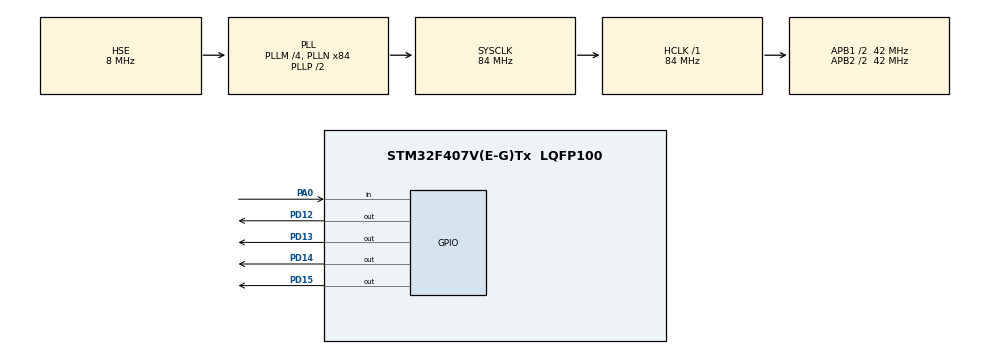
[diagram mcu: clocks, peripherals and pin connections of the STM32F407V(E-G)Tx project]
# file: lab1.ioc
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Mcu.Family=STM32F4
Mcu.Name=STM32F407V(E-G)Tx
Mcu.Package=LQFP100
NVIC.PriorityGroup=NVIC_PRIORITYGROUP_4
PA0-WKUP.Signal=GPIO_Input
PA13.Mode=Serial_Wire
PA13.Signal=SYS_JTMS-SWDIO
PA14.Mode=Serial_Wire
PA14.Signal=SYS_JTCK-SWCLK
PD12.Signal=GPIO_Output
PD13.Signal=GPIO_Output
PD14.Signal=GPIO_Output
PD15.Signal=GPIO_Output
PH0-OSC_IN.Mode=HSE-External-Oscillator
PH0-OSC_IN.Signal=RCC_OSC_IN
PH1-OSC_OUT.Mode=HSE-External-Oscillator
PH1-OSC_OUT.Signal=RCC_OSC_OUT
ProjectManager.HeapSize=0x200
ProjectManager.StackSize=0x400
ProjectManager.TargetToolchain=STM32CubeIDE
RCC.48MHZClocksFreq_Value=42000000
RCC.AHBFreq_Value=84000000
RCC.APB1CLKDivider=RCC_HCLK_DIV2
RCC.APB1Freq_Value=42000000
RCC.APB1TimFreq_Value=84000000
RCC.APB2CLKDivider=RCC_HCLK_DIV2
RCC.APB2Freq_Value=42000000
RCC.APB2TimFreq_Value=84000000
RCC.CortexFreq_Value=84000000
RCC.EnbaleCSS=true
RCC.HCLKFreq_Value=84000000
RCC.HSE_VALUE=8000000
RCC.HSI_VALUE=16000000
RCC.LSE_VALUE=32768
RCC.PLLM=4
RCC.PLLN=84
RCC.PLLSourceVirtual=RCC_PLLSOURCE_HSE
RCC.SYSCLKFreq_VALUE=84000000
RCC.SYSCLKSource=RCC_SYSCLKSOURCE_PLLCLK
RCC.VCOOutputFreq_Value=168000000
board=custom

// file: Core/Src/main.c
/* USER CODE BEGIN Header */
/**
  ******************************************************************************
  * @file           : main.c
  * @brief          : Main program body
  ******************************************************************************
  * @attention
  *
  * Copyright (c) 2024 STMicroelectronics.
  * All rights reserved.
  *
  * This software is licensed under terms that can be found in the LICENSE file
  * in the root directory of this software component.
  * If no LICENSE file comes with this software, it is provided AS-IS.
  *
  ******************************************************************************
  */
/* USER CODE END Header */
#include "main.h"

void SystemClock_Config(void);
static void MX_GPIO_Init(void);

int main(void)
{

  /* MCU Configuration--------------------------------------------------------*/

  /* Reset of all peripherals, Initializes the Flash interface and the Systick. */
  HAL_Init();

  /* Configure the system clock */
  SystemClock_Config();

  /* Initialize all configured peripherals */
  MX_GPIO_Init();
  /* USER CODE BEGIN 2 */

  uint16_t leds[] = {GPIO_PIN_12, GPIO_PIN_13, GPIO_PIN_14, GPIO_PIN_15};
  uint8_t led_index = 0;
  uint8_t direction = 1; // 1 = clockwise, 0 = counter-clockwise
  uint8_t button_pressed = 0;
  uint8_t mode = 0;  // 0: low frequency, 1: medium frequency, 2: high frequency

  /* USER CODE END 2 */

  /* Infinite loop */
  while (1)
  {

    /* USER CODE BEGIN 3 */
      // Check button state
      if (HAL_GPIO_ReadPin(GPIOA, GPIO_PIN_0) == GPIO_PIN_SET) {
          if (!button_pressed) {
              mode = (mode + 1) % 3;  // Change mode: 0 -> 1 -> 2 -> 0
              button_pressed = 1;    // Mark button as pressed
          }
      } else {
          button_pressed = 0; // Reset button state when released
      }

      // Toggle current LED
      HAL_GPIO_TogglePin(GPIOD, leds[led_index]);

      // Set delay based on current mode
      uint32_t delay;
      switch (mode) {
          case 0:  // Low frequency (500 ms)
              delay = 500;
              break;
          case 1:  // Medium frequency (250 ms)
              delay = 250;
              break;
          case 2:  // High frequency (100 ms)
              delay = 100;
              break;
          default:
              delay = 500;  // Default to low frequency
              break;
      }

      HAL_Delay(delay);  // Delay for the selected frequency
      HAL_GPIO_TogglePin(GPIOD, leds[led_index]);  // Turn LED off

      // Update LED index based on direction
      if (direction) {
          led_index = (led_index + 1) % 4; // Clockwise
      } else {
          led_index = (led_index == 0) ? 3 : led_index - 1; // Counter-clockwise
      }
  }
  /* USER CODE END 3 */
}

void SystemClock_Config(void)
{
  RCC_OscInitTypeDef RCC_OscInitStruct = {0};
  RCC_ClkInitTypeDef RCC_ClkInitStruct = {0};

  /** Configure the main internal regulator output voltage
  */
  __HAL_RCC_PWR_CLK_ENABLE();
  __HAL_PWR_VOLTAGESCALING_CONFIG(PWR_REGULATOR_VOLTAGE_SCALE1);

  /** Initializes the RCC Oscillators according to the specified parameters
  * in the RCC_OscInitTypeDef structure.
  */
  RCC_OscInitStruct.OscillatorType = RCC_OSCILLATORTYPE_HSE;
  RCC_OscInitStruct.HSEState = RCC_HSE_ON;
  RCC_OscInitStruct.PLL.PLLState = RCC_PLL_ON;
  RCC_OscInitStruct.PLL.PLLSource = RCC_PLLSOURCE_HSE;
  RCC_OscInitStruct.PLL.PLLM = 4;
  RCC_OscInitStruct.PLL.PLLN = 84;
  RCC_OscInitStruct.PLL.PLLP = RCC_PLLP_DIV2;
  RCC_OscInitStruct.PLL.PLLQ = 4;
  if (HAL_RCC_OscConfig(&RCC_OscInitStruct) != HAL_OK)
  {
    Error_Handler();
  }

  /** Initializes the CPU, AHB and APB buses clocks
  */
  RCC_ClkInitStruct.ClockType = RCC_CLOCKTYPE_HCLK|RCC_CLOCKTYPE_SYSCLK
                              |RCC_CLOCKTYPE_PCLK1|RCC_CLOCKTYPE_PCLK2;
  RCC_ClkInitStruct.SYSCLKSource = RCC_SYSCLKSOURCE_PLLCLK;
  RCC_ClkInitStruct.AHBCLKDivider = RCC_SYSCLK_DIV1;
  RCC_ClkInitStruct.APB1CLKDivider = RCC_HCLK_DIV2;
  RCC_ClkInitStruct.APB2CLKDivider = RCC_HCLK_DIV2;

  if (HAL_RCC_ClockConfig(&RCC_ClkInitStruct, FLASH_LATENCY_2) != HAL_OK)
  {
    Error_Handler();
  }

  /** Enables the Clock Security System
  */
  HAL_RCC_EnableCSS();
}

static void MX_GPIO_Init(void)
{
  GPIO_InitTypeDef GPIO_InitStruct = {0};

  /* GPIO Ports Clock Enable */
  __HAL_RCC_GPIOH_CLK_ENABLE();
  __HAL_RCC_GPIOA_CLK_ENABLE();
  __HAL_RCC_GPIOD_CLK_ENABLE();

  /* Configure GPIO pin Output Level */
  HAL_GPIO_WritePin(GPIOD, GPIO_PIN_12|GPIO_PIN_13|GPIO_PIN_14|GPIO_PIN_15, GPIO_PIN_RESET);

  /* Configure GPIO pin : PA0 */
  GPIO_InitStruct.Pin = GPIO_PIN_0;
  GPIO_InitStruct.Mode = GPIO_MODE_INPUT;
  GPIO_InitStruct.Pull = GPIO_NOPULL;
  HAL_GPIO_Init(GPIOA, &GPIO_InitStruct);

  /* Configure GPIO pins : PD12 PD13 PD14 PD15 */
  GPIO_InitStruct.Pin = GPIO_PIN_12|GPIO_PIN_13|GPIO_PIN_14|GPIO_PIN_15;
  GPIO_InitStruct.Mode = GPIO_MODE_OUTPUT_PP;
  GPIO_InitStruct.Pull = GPIO_NOPULL;
  GPIO_InitStruct.Speed = GPIO_SPEED_FREQ_LOW;
  HAL_GPIO_Init(GPIOD, &GPIO_InitStruct);
}

void Error_Handler(void)
{
  __disable_irq();
  while (1)
  {
  }
}
